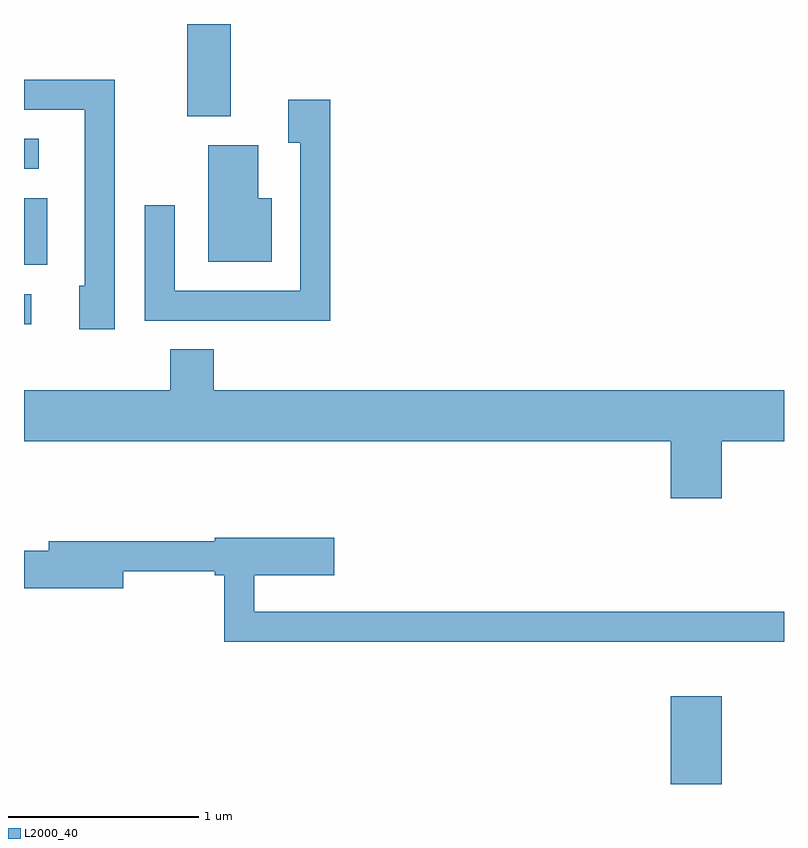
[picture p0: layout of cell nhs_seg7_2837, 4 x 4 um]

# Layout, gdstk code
import gdstk
lib = gdstk.Library(unit=1e-6, precision=1e-09)
def R(c, l, rs):  # rectangles x0, y0, x1, y1
    for r in rs: c.add(gdstk.rectangle(r[:2], r[2:], *l))
def P(c, l, *ps):  # polygons
    for p in ps: c.add(gdstk.Polygon(p, *l))
L2000_40 = (2000, 40)

nhs_seg7_2837 = lib.new_cell('nhs_seg7_2837')
R(nhs_seg7_2837, L2000_40, [(275.016,1750.252,275.284,1750.714), (271.611,1752.671,271.648,1752.829), (271.611,1752.986,271.734,1753.334), (271.611,1753.491,271.688,1753.649), (272.471,1753.766,272.699,1754.252)])
P(nhs_seg7_2837, L2000_40, [(272.089,1753.959),(271.611,1753.959),(271.611,1753.801),(271.931,1753.801),(271.931,1752.874),(271.901,1752.874),(271.901,1752.646),(272.089,1752.646)],
  [(273.224,1753.854),(273.001,1753.854),(273.001,1753.626),(273.066,1753.626),(273.066,1752.849),(272.404,1752.849),(272.404,1753.298),(272.246,1753.298),(272.246,1752.691),(273.224,1752.691)],
  [(272.914,1753.334),(272.844,1753.334),(272.844,1753.614),(272.581,1753.614),(272.581,1753.001),(272.914,1753.001)],
  [(275.284,1752.056),(275.611,1752.056),(275.611,1752.324),(272.609,1752.324),(272.609,1752.539),(272.381,1752.539),(272.381,1752.324),(271.611,1752.324),(271.611,1752.056),(275.016,1752.056),(275.016,1751.756),(275.284,1751.756)],
  [(275.611,1751.159),(272.824,1751.159),(272.824,1751.351),(273.244,1751.351),(273.244,1751.549),(272.616,1751.549),(272.616,1751.529),(271.741,1751.529),(271.741,1751.479),(271.611,1751.479),(271.611,1751.281),(272.134,1751.281),(272.134,1751.371),(272.616,1751.371),(272.616,1751.351),(272.666,1751.351),(272.666,1751.001),(275.611,1751.001)])

lib.write_gds('nhs_seg7_2837.gds')
